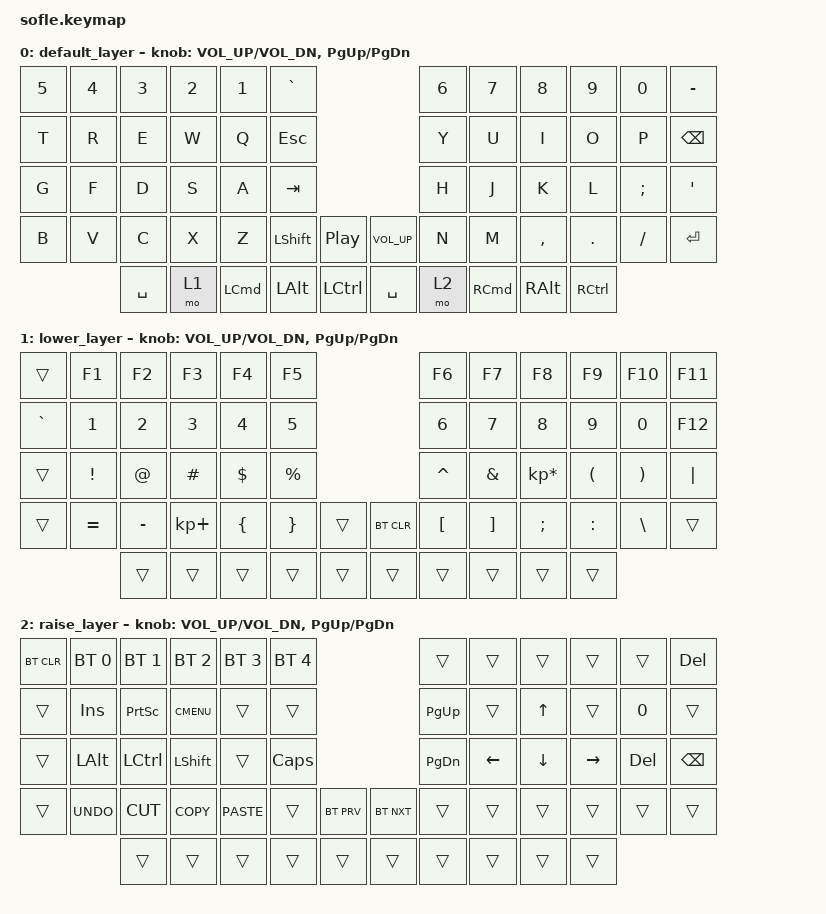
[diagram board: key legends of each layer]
/*
 * Copyright (c) 2020 The ZMK Contributors
 *
 * SPDX-License-Identifier: MIT
 */

#include <behaviors.dtsi>
#include <dt-bindings/zmk/keys.h>
#include <dt-bindings/zmk/bt.h>

/ {
    keymap {
        compatible = "zmk,keymap";

        default_layer {
// ------------------------------------------------------------------------------------------------------------
// |  `    |  1  |  2  |  3   |  4   |  5   |                   |  6   |  7    |  8    |  9   |   0   |       |
// |  ESC  |  Q  |  W  |  E   |  R   |  T   |                   |  Y   |  U    |  I    |  O   |   P   | BKSPC |
// |  TAB  |  A  |  S  |  D   |  F   |  G   |                   |  H   |  J    |  K    |  L   |   ;   |   '   |
// | SHIFT |  Z  |  X  |  C   |  V   |  B   |  MUTE  |  |       |  N   |  M    |  ,    |  .   |   /   | SHIFT |
//               | GUI | ALT  | CTRL | LOWER|  ENTER |  | SPACE | RAISE| CTRL  | ALT   | GUI  |
//            bindings = <
// &kp GRAVE &kp N1 &kp N2   &kp N3   &kp N4    &kp N5                      &kp N6 &kp N7    &kp N8    &kp N9   &kp N0   &none
// &kp ESC   &kp Q  &kp W    &kp E    &kp R     &kp T                       &kp Y  &kp U     &kp I     &kp O    &kp P    &kp BSPC
// &kp TAB   &kp A  &kp S    &kp D    &kp F     &kp G                       &kp H  &kp J     &kp K     &kp L    &kp SEMI &kp SQT
// &kp LSHFT &kp Z  &kp X    &kp C    &kp V     &kp B  &kp C_MUTE &none     &kp N  &kp M     &kp COMMA &kp DOT  &kp FSLH &kp RSHFT
//                 &kp LGUI &kp LALT &kp LCTRL &mo 1  &kp RET    &kp SPACE &mo 2  &kp RCTRL &kp RALT  &kp RGUI
//            >;
            
            bindings = <
     &kp N5 &kp N4 &kp N3   &kp N2   &kp N1    &kp GRAVE                                &kp N6 &kp N7    &kp N8    &kp N9   &kp N0   &kp MINUS
     &kp T  &kp R  &kp E    &kp W    &kp Q     &kp ESC                                  &kp Y  &kp U     &kp I     &kp O    &kp P    &kp BSPC
     &kp G  &kp F  &kp D    &kp S    &kp A     &kp TAB                                  &kp H  &kp J     &kp K     &kp L    &kp SEMI &kp SQT
     &kp B  &kp V  &kp C    &kp X    &kp Z     &kp LSHFT      &kp C_PP      &kp C_VOL_UP     &kp N  &kp M     &kp COMMA &kp DOT  &kp FSLH &kp RET
&kp SPACE &mo 1  &kp LCMD &kp LALT  &kp LCTRL                             &kp SPACE &mo 2   &kp RCMD &kp RALT  &kp RCTRL
            >;

            sensor-bindings = <&inc_dec_kp C_VOL_UP C_VOL_DN &inc_dec_kp PG_UP PG_DN>;
        };

        lower_layer {
// TODO: Some binds are waiting for shifted keycode support.
// ------------------------------------------------------------------------------------------------------------
// |       |  F1 |  F2 |  F3  |  F4  |  F5  |                   |  F6  |  F7   |  F8   |  F9  |  F10  |  F11  |
// | `     |   1 |   2 |   3  |   4  |   5  |                   |   6  |   7   |   8   |   9  |    0  |  F12  |
// |       |  !  |  @  |  #   |  $   |  %   |                   |  ^   |  &    |  *    |  (   |   )   |   |   |
// |       |  =  |  -  |  +   |  {   |  }   |        |  |       |  [   |  ]    |  ;    |  :   |   \   |       |
//               |     |      |      |      |        |  |       |      |       |       |      |
            bindings = <
&trans    &kp F1    &kp F2    &kp F3      &kp F4    &kp F5                    &kp F6    &kp F7   &kp F8          &kp F9    &kp F10   &kp F11
&kp GRAVE &kp N1    &kp N2    &kp N3      &kp N4    &kp N5                    &kp N6    &kp N7   &kp N8          &kp N9    &kp N0    &kp F12
&trans    &kp EXCL  &kp AT    &kp HASH    &kp DLLR  &kp PRCNT                 &kp CARET &kp AMPS &kp KP_MULTIPLY &kp LPAR  &kp RPAR  &kp PIPE
&trans    &kp EQUAL &kp MINUS &kp KP_PLUS &kp LBRC  &kp RBRC  &trans   &bt BT_CLR &kp LBKT  &kp RBKT &kp SEMI        &kp COLON &kp BSLH  &trans
                    &trans    &trans      &trans    &trans    &trans   &trans &trans    &trans   &trans          &trans
            >;

            sensor-bindings = <&inc_dec_kp C_VOL_UP C_VOL_DN &inc_dec_kp PG_UP PG_DN>;
        };

        raise_layer {
// ------------------------------------------------------------------------------------------------------------
// |BTCLR| BT1  | BT2  |  BT3  |  BT4  |  BT5 |                |      |      |       |      |       |       |
// |     | INS  | PSCR | GUI   |       |      |                | PGUP |      |   ^   |      |       |       |
// |     | ALT  | CTRL | SHIFT |       | CAPS |                | PGDN |   <- |   v   |  ->  |  DEL  | BKSPC |
// |     | UNDO | CUT  | COPY  | PASTE |      |      |  |      |      |      |       |      |       |       |
//              |      |       |       |      |      |  |      |      |      |       |      |
            bindings = <
&bt BT_CLR &bt BT_SEL 0 &bt BT_SEL 1 &bt BT_SEL 2 &bt BT_SEL 3 &bt BT_SEL 4             &trans    &trans    &trans   &trans    &trans  &kp DELETE
&trans     &kp INS      &kp PSCRN    &kp K_CMENU  &trans       &trans                   &kp PG_UP &trans    &kp UP   &trans    &kp N0  &trans
&trans     &kp LALT     &kp LCTRL    &kp LSHFT    &trans       &kp CLCK                 &kp PG_DN &kp LEFT  &kp DOWN &kp RIGHT &kp DEL &kp BSPC
&trans     &kp K_UNDO   &kp K_CUT    &kp K_COPY   &kp K_PASTE  &trans  &bt BT_PRV   &bt BT_NXT  &trans    &trans    &trans   &trans    &trans  &trans
                        &trans       &trans       &trans       &trans  &trans   &trans  &trans    &trans    &trans   &trans
            >;

            sensor-bindings = <&inc_dec_kp C_VOL_UP C_VOL_DN &inc_dec_kp PG_UP PG_DN>;
        };
    };
};
